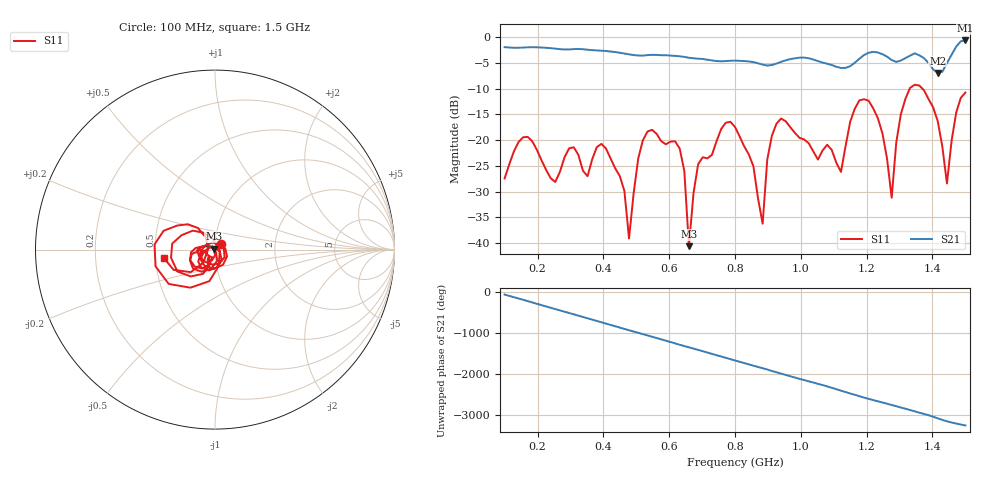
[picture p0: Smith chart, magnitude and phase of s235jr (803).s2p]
! NanoVNA-App
! Date: 2025-09-25 15:10:25
! Start: 100MHz Stop: 1,5GHz Points: 101
! S-Parameter data: F S11 S21 S12 S22
# Hz S RI R 50
!  Frequency  S11_Real  S11_Imag  S21_Real  S21_Imag  S12_Real  S12_Imag  S22_Real  S22_Imag
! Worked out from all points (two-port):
!   101 points, 100 MHz to 1.5 GHz, reference 50 ohm
!   highest |S21| = -0.67 dB at 1.5 GHz (marker M1); lowest = -7.0 dB at 1.416 GHz (marker M2)
!   |S21| within 3 dB of the highest: start of sweep to 618.5 MHz; 1.189 GHz to 1.258 GHz (69.21 MHz wide, 5.66 % of centre) (the widest 2 of 4)
!   lowest |S11| = -40.6 dB at 660 MHz (marker M3), VSWR 1.02, Z = 49.3 + j0.572 ohm
!   |S11| at or under -10 dB: start of sweep to 1.331 GHz; 1.369 GHz to end of sweep
!   S12 and S22 are empty: the file has one direction only
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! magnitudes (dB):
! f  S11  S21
! 100 MHz  -27.5  -2.0
! 156 MHz  -19.5  -2.0
! 338 MHz  -26.0  -2.4
! 408 MHz  -21.6  -2.7
! 478 MHz  -39.1  -3.4
! 520 MHz  -20.1  -3.6
! 576 MHz  -20.2  -3.5
! 632 MHz  -21.7  -3.7
! 660 MHz  -40.6  -4.0
! 688 MHz  -24.7  -4.2
! 800 MHz  -17.5  -4.6
! 884 MHz  -36.2  -5.4
! 898 MHz  -23.8  -5.5
! 926 MHz  -16.8  -5.2
! 1.038 GHz  -22.2  -4.4
! 1.122 GHz  -26.2  -6.0
! 1.206 GHz  -12.4  -3.1
! 1.276 GHz  -31.2  -4.5
! 1.332 GHz  -9.9  -3.6
! 1.416 GHz  -16.3  -7.0
! 1.444 GHz  -28.4  -5.1
! 1.5 GHz  -10.8  -0.7
